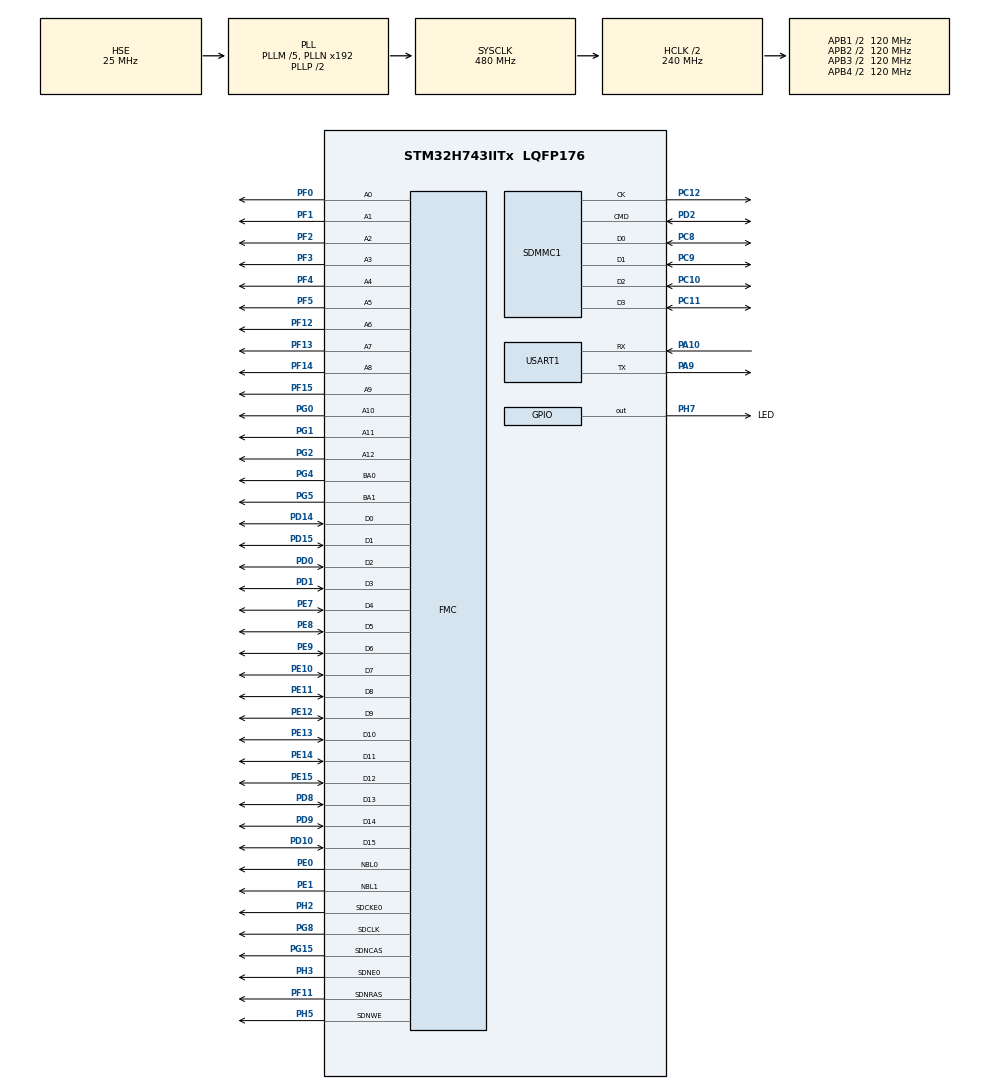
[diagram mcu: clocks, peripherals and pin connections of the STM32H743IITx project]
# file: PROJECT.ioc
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CORTEX_M7.CPU_DCache=Enabled
CORTEX_M7.CPU_ICache=Enabled
Dma.Request0=USART1_RX
Dma.Request1=USART1_TX
Dma.USART1_RX.0.Direction=DMA_PERIPH_TO_MEMORY
Dma.USART1_RX.0.EventEnable=DISABLE
Dma.USART1_RX.0.FIFOMode=DMA_FIFOMODE_DISABLE
Dma.USART1_RX.0.Instance=DMA1_Stream0
Dma.USART1_RX.0.MemDataAlignment=DMA_MDATAALIGN_BYTE
Dma.USART1_RX.0.MemInc=DMA_MINC_ENABLE
Dma.USART1_RX.0.Mode=DMA_NORMAL
Dma.USART1_RX.0.PeriphDataAlignment=DMA_PDATAALIGN_BYTE
Dma.USART1_RX.0.PeriphInc=DMA_PINC_DISABLE
Dma.USART1_RX.0.Polarity=HAL_DMAMUX_REQ_GEN_RISING
Dma.USART1_RX.0.Priority=DMA_PRIORITY_LOW
Dma.USART1_RX.0.RequestNumber=1
Dma.USART1_RX.0.SignalID=NONE
Dma.USART1_RX.0.SyncEnable=DISABLE
Dma.USART1_RX.0.SyncPolarity=HAL_DMAMUX_SYNC_NO_EVENT
Dma.USART1_RX.0.SyncRequestNumber=1
Dma.USART1_RX.0.SyncSignalID=NONE
Dma.USART1_TX.1.Direction=DMA_MEMORY_TO_PERIPH
Dma.USART1_TX.1.EventEnable=DISABLE
Dma.USART1_TX.1.FIFOMode=DMA_FIFOMODE_DISABLE
Dma.USART1_TX.1.Instance=DMA1_Stream1
Dma.USART1_TX.1.MemDataAlignment=DMA_MDATAALIGN_BYTE
Dma.USART1_TX.1.MemInc=DMA_MINC_ENABLE
Dma.USART1_TX.1.Mode=DMA_NORMAL
Dma.USART1_TX.1.PeriphDataAlignment=DMA_PDATAALIGN_BYTE
Dma.USART1_TX.1.PeriphInc=DMA_PINC_DISABLE
Dma.USART1_TX.1.Polarity=HAL_DMAMUX_REQ_GEN_RISING
Dma.USART1_TX.1.Priority=DMA_PRIORITY_LOW
Dma.USART1_TX.1.RequestNumber=1
Dma.USART1_TX.1.SignalID=NONE
Dma.USART1_TX.1.SyncEnable=DISABLE
Dma.USART1_TX.1.SyncPolarity=HAL_DMAMUX_SYNC_NO_EVENT
Dma.USART1_TX.1.SyncRequestNumber=1
Dma.USART1_TX.1.SyncSignalID=NONE
FATFS.USE_DMA_CODE_SD=1
FATFS._MAX_SS=1024
FATFS._USE_LFN=2
FMC.CASLatency1=FMC_SDRAM_CAS_LATENCY_3
FMC.ColumnBitsNumber1=FMC_SDRAM_COLUMN_BITS_NUM_9
FMC.ExitSelfRefreshDelay1=9
FMC.LoadToActiveDelay1=1
FMC.RCDDelay1=3
FMC.RPDelay1=3
FMC.RPDelay2=3
FMC.RowCycleDelay1=8
FMC.RowCycleDelay2=8
FMC.SDClockPeriod1=FMC_SDRAM_CLOCK_PERIOD_2
FMC.SDClockPeriod2=FMC_SDRAM_CLOCK_PERIOD_2
FMC.SelfRefreshTime1=6
FMC.WriteRecoveryTime1=3
Mcu.Family=STM32H7
Mcu.Name=STM32H743IITx
Mcu.Package=LQFP176
Mdma.MDMA_Channel0.Request0=SDMMC1_END_DATA
Mdma.MDMA_Channel0.RequestsNb=1
Mdma.MDMA_Channel0.SDMMC1_END_DATA.0.BlockCount=0
Mdma.MDMA_Channel0.SDMMC1_END_DATA.0.BlockDataLength=0
Mdma.MDMA_Channel0.SDMMC1_END_DATA.0.BufferTransferLength=1
Mdma.MDMA_Channel0.SDMMC1_END_DATA.0.CircularMode=MDMA_LINEAR_LIST
Mdma.MDMA_Channel0.SDMMC1_END_DATA.0.DataAlignment=MDMA_DATAALIGN_PACKENABLE
Mdma.MDMA_Channel0.SDMMC1_END_DATA.0.DestBlockAddressOffset=0
Mdma.MDMA_Channel0.SDMMC1_END_DATA.0.DestBurst=MDMA_DEST_BURST_SINGLE
Mdma.MDMA_Channel0.SDMMC1_END_DATA.0.DestDataSize=MDMA_DEST_DATASIZE_BYTE
Mdma.MDMA_Channel0.SDMMC1_END_DATA.0.DestinationInc=MDMA_DEST_INC_BYTE
Mdma.MDMA_Channel0.SDMMC1_END_DATA.0.DstAddress=0
Mdma.MDMA_Channel0.SDMMC1_END_DATA.0.Endianness=MDMA_LITTLE_ENDIANNESS_PRESERVE
Mdma.MDMA_Channel0.SDMMC1_END_DATA.0.Instance=MDMA_Channel0
Mdma.MDMA_Channel0.SDMMC1_END_DATA.0.MaskAddress=0
Mdma.MDMA_Channel0.SDMMC1_END_DATA.0.MaskData=0
Mdma.MDMA_Channel0.SDMMC1_END_DATA.0.Priority=MDMA_PRIORITY_LOW
Mdma.MDMA_Channel0.SDMMC1_END_DATA.0.Rank=First
Mdma.MDMA_Channel0.SDMMC1_END_DATA.0.SourceBlockAddressOffset=0
Mdma.MDMA_Channel0.SDMMC1_END_DATA.0.SourceBurst=MDMA_SOURCE_BURST_SINGLE
Mdma.MDMA_Channel0.SDMMC1_END_DATA.0.SourceDataSize=MDMA_SRC_DATASIZE_BYTE
Mdma.MDMA_Channel0.SDMMC1_END_DATA.0.SourceInc=MDMA_SRC_INC_BYTE
Mdma.MDMA_Channel0.SDMMC1_END_DATA.0.SrcAddress=0
Mdma.MDMA_Channel0.SDMMC1_END_DATA.0.TransferTriggerMode=MDMA_BUFFER_TRANSFER
Mdma.RequestSet0=MDMA_Channel0
Mdma.RequestSetsNb=1
NVIC.DMA1_Stream0_IRQn=true\:5\:0\:true\:false\:true\:false\:true\:true
NVIC.DMA1_Stream1_IRQn=true\:5\:0\:true\:false\:true\:false\:true\:true
NVIC.MDMA_IRQn=true\:0\:0\:false\:false\:true\:true\:true\:true
NVIC.PriorityGroup=NVIC_PRIORITYGROUP_4
NVIC.SDMMC1_IRQn=true\:0\:0\:false\:false\:true\:true\:true\:true
NVIC.USART1_IRQn=true\:5\:0\:true\:false\:true\:true\:true\:true
PA10.Mode=Asynchronous
PA10.Signal=USART1_RX
PA13\ (JTMS/SWDIO).Mode=Serial_Wire
PA13\ (JTMS/SWDIO).Signal=DEBUG_JTMS-SWDIO
PA14\ (JTCK/SWCLK).Mode=Serial_Wire
PA14\ (JTCK/SWCLK).Signal=DEBUG_JTCK-SWCLK
PA9.Mode=Asynchronous
PA9.Signal=USART1_TX
PC10.Mode=SD_4_bits_Wide_bus
PC10.Signal=SDMMC1_D2
PC11.Mode=SD_4_bits_Wide_bus
PC11.Signal=SDMMC1_D3
PC12.Mode=SD_4_bits_Wide_bus
PC12.Signal=SDMMC1_CK
PC8.Mode=SD_4_bits_Wide_bus
PC8.Signal=SDMMC1_D0
PC9.Mode=SD_4_bits_Wide_bus
PC9.Signal=SDMMC1_D1
PD0.Signal=FMC_D2_DA2
PD1.Signal=FMC_D3_DA3
PD10.Signal=FMC_D15_DA15
PD14.Signal=FMC_D0_DA0
PD15.Signal=FMC_D1_DA1
PD2.Mode=SD_4_bits_Wide_bus
PD2.Signal=SDMMC1_CMD
PD8.Signal=FMC_D13_DA13
PD9.Signal=FMC_D14_DA14
PE0.Signal=FMC_NBL0
PE1.Signal=FMC_NBL1
PE10.Signal=FMC_D7_DA7
PE11.Signal=FMC_D8_DA8
PE12.Signal=FMC_D9_DA9
PE13.Signal=FMC_D10_DA10
PE14.Signal=FMC_D11_DA11
PE15.Signal=FMC_D12_DA12
PE7.Signal=FMC_D4_DA4
PE8.Signal=FMC_D5_DA5
PE9.Signal=FMC_D6_DA6
PF0.Signal=FMC_A0
PF1.Signal=FMC_A1
PF11.Signal=FMC_SDNRAS
PF12.Signal=FMC_A6
PF13.Signal=FMC_A7
PF14.Signal=FMC_A8
PF15.Signal=FMC_A9
PF2.Signal=FMC_A2
PF3.Signal=FMC_A3
PF4.Signal=FMC_A4
PF5.Signal=FMC_A5
PG0.Signal=FMC_A10
PG1.Signal=FMC_A11
PG15.Signal=FMC_SDNCAS
PG2.Signal=FMC_A12
PG4.Signal=FMC_A14_BA0
PG5.Signal=FMC_A15_BA1
PG8.Signal=FMC_SDCLK
PH0-OSC_IN\ (PH0).Mode=HSE-External-Oscillator
PH0-OSC_IN\ (PH0).Signal=RCC_OSC_IN
PH1-OSC_OUT\ (PH1).Mode=HSE-External-Oscillator
PH1-OSC_OUT\ (PH1).Signal=RCC_OSC_OUT
PH2.Mode=SdramChipSelect1_1
PH2.Signal=FMC_SDCKE0
PH3.Mode=SdramChipSelect1_1
PH3.Signal=FMC_SDNE0
PH5.Signal=FMC_SDNWE
PH7.GPIO_Label=LED
PH7.Signal=GPIO_Output
ProjectManager.HeapSize=0x400
ProjectManager.StackSize=0x1000
ProjectManager.TargetToolchain=MDK-ARM V5.32
RCC.ADCFreq_Value=50390625
RCC.APB1Freq_Value=120000000
RCC.APB2Freq_Value=120000000
RCC.APB3Freq_Value=120000000
RCC.APB4Freq_Value=120000000
RCC.CortexFreq_Value=480000000
RCC.D1PPRE=RCC_APB3_DIV2
RCC.D2PPRE1=RCC_APB1_DIV2
RCC.D2PPRE2=RCC_APB2_DIV2
RCC.D3PPRE=RCC_APB4_DIV2
RCC.DIVM1=5
RCC.DIVN1=192
RCC.DIVQ1=4
RCC.HCLKFreq_Value=240000000
RCC.HPRE=RCC_HCLK_DIV2
RCC.LockedElements=D1CPREOutput,FMCoutput,AHBOutput
RCC.PLL2FRACN=0
RCC.PLL3FRACN=0
RCC.PLLFRACN=0
RCC.PLLSourceVirtual=RCC_PLLSOURCE_HSE
RCC.SYSCLKFreq_VALUE=480000000
RCC.SYSCLKSource=RCC_SYSCLKSOURCE_PLLCLK
RCC.USBFreq_Value=240000000
SDMMC1.ClockDiv=2
SH.FMC_A0.0=FMC_A0,13b-sda1
SH.FMC_A1.0=FMC_A1,13b-sda1
SH.FMC_A10.0=FMC_A10,13b-sda1
SH.FMC_A11.0=FMC_A11,13b-sda1
SH.FMC_A12.0=FMC_A12,13b-sda1
SH.FMC_A14_BA0.0=FMC_BA0,FourSdramBanks1
SH.FMC_A15_BA1.0=FMC_BA1,FourSdramBanks1
SH.FMC_A2.0=FMC_A2,13b-sda1
SH.FMC_A3.0=FMC_A3,13b-sda1
SH.FMC_A4.0=FMC_A4,13b-sda1
SH.FMC_A5.0=FMC_A5,13b-sda1
SH.FMC_A6.0=FMC_A6,13b-sda1
SH.FMC_A7.0=FMC_A7,13b-sda1
SH.FMC_A8.0=FMC_A8,13b-sda1
SH.FMC_A9.0=FMC_A9,13b-sda1
SH.FMC_D0_DA0.0=FMC_D0,sd-16b-d1
SH.FMC_D10_DA10.0=FMC_D10,sd-16b-d1
SH.FMC_D11_DA11.0=FMC_D11,sd-16b-d1
SH.FMC_D12_DA12.0=FMC_D12,sd-16b-d1
SH.FMC_D13_DA13.0=FMC_D13,sd-16b-d1
SH.FMC_D14_DA14.0=FMC_D14,sd-16b-d1
SH.FMC_D15_DA15.0=FMC_D15,sd-16b-d1
SH.FMC_D1_DA1.0=FMC_D1,sd-16b-d1
SH.FMC_D2_DA2.0=FMC_D2,sd-16b-d1
SH.FMC_D3_DA3.0=FMC_D3,sd-16b-d1
SH.FMC_D4_DA4.0=FMC_D4,sd-16b-d1
SH.FMC_D5_DA5.0=FMC_D5,sd-16b-d1
SH.FMC_D6_DA6.0=FMC_D6,sd-16b-d1
SH.FMC_D7_DA7.0=FMC_D7,sd-16b-d1
SH.FMC_D8_DA8.0=FMC_D8,sd-16b-d1
SH.FMC_D9_DA9.0=FMC_D9,sd-16b-d1
SH.FMC_NBL0.0=FMC_NBL0,Sd2ByteEnable1
SH.FMC_NBL1.0=FMC_NBL1,Sd2ByteEnable1
SH.FMC_SDCLK.0=FMC_SDCLK,13b-sda1
SH.FMC_SDNCAS.0=FMC_SDNCAS,13b-sda1
SH.FMC_SDNRAS.0=FMC_SDNRAS,13b-sda1
SH.FMC_SDNWE.0=FMC_SDNWE,13b-sda1
USART1.VirtualMode-Asynchronous=VM_ASYNC
VP_FATFS_VS_SDIO.Mode=SDIO
board=custom

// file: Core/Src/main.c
/* USER CODE BEGIN Header */
/**
 ******************************************************************************
 * @file           : main.c
 * @brief          : Main program body
 ******************************************************************************
 * @attention
 *
 * Copyright (c) 2024 STMicroelectronics.
 * All rights reserved.
 *
 * This software is licensed under terms that can be found in the LICENSE file
 * in the root directory of this software component.
 * If no LICENSE file comes with this software, it is provided AS-IS.
 *
 ******************************************************************************
 */
/* USER CODE END Header */
#include "main.h"
#include "dma.h"
#include "fatfs.h"
#include "mdma.h"
#include "sdmmc.h"
#include "usart.h"
#include "gpio.h"
#include "fmc.h"

/* USER CODE BEGIN Includes */
#include <stdio.h>
#include "iled.h"
#include "iusart.h"
#include "isdram.h"
#include "imemory.h"
#include "idisk.h"
#include "arm_math.h"
/* USER CODE END Includes */

/* USER CODE BEGIN PM */
// SDMMC/SD Card
#define NumOf_Blocks 64
#define Test_BlockSize ((BLOCKSIZE * NumOf_Blocks) >> 2) // Define the data size, the SD block size is 512 bytes, because it is a 32-bit array, so divide by 4
#define Test_Addr 0x00

// DSP
#define FFT_LENGTH 1024 // FFT Length, by default 1024 points
/* USER CODE END PM */

/* USER CODE BEGIN PV */

// DSP
float fft_inputbuf[FFT_LENGTH * 2]; // FFT Input array
float fft_outputbuf[FFT_LENGTH];    // FFT Output array
/* USER CODE END PV */

void SystemClock_Config(void);

/* USER CODE BEGIN 0 */
int i;
arm_cfft_radix4_instance_f32 scfft;
/* USER CODE END 0 */

int main(void)
{
  /* USER CODE BEGIN 1 */
  void *p = NULL;

  /* USER CODE END 1 */
/* Enable the CPU Cache */

  /* Enable I-Cache---------------------------------------------------------*/
  SCB_EnableICache();

  /* Enable D-Cache---------------------------------------------------------*/
  SCB_EnableDCache();

  /* MCU Configuration--------------------------------------------------------*/

  /* Reset of all peripherals, Initializes the Flash interface and the Systick. */
  HAL_Init();

  /* Configure the system clock */
  SystemClock_Config();

  /* Initialize all configured peripherals */
  MX_GPIO_Init();
  MX_DMA_Init();
  MX_MDMA_Init();
  MX_USART1_UART_Init();
  MX_SDMMC1_SD_Init();
  MX_FMC_Init();
  MX_FATFS_Init();
  /* USER CODE BEGIN 2 */
  SDRAM_InitSequence();
  MCU_serial_init();
  SDRAM_Test();
  // <SDRAM TEST>
  printf("\r\n[PART I: SDRAM AND MEMORY MANAGEMENT TEST]\r\n");
  memory_init();

  void *ptr1 = memory_alloc(1 * 1024 * 1024); // allocate 10 MB
  if (ptr1)
  {
    printf("Allocated 1 MB at %p\r\n", ptr1);
  }
  else
  {
    printf("Failed to allocate 1 MB\r\n");
  }

  // modify the values in the allocated memory
  for (int i = 0; i < 1 * 1024 * 1024 / 4; i++)
  {
    ((uint32_t *)ptr1)[i] = i;
    // print
    if (i % 4096 == 0)
    {
      printf("Value at %p: %d\r\n", &((uint32_t *)ptr1)[i], ((uint32_t *)ptr1)[i]);
    }
  }

  memory_free(ptr1);
  printf("Freed memory at %p\r\n", ptr1);

  // <SD CARD TEST>
  printf("\r\n[PART II: SD CARD TEST]\r\n");

  if (Disk_Mount() < 0)
  {
    Error_Handler();
    printf("SD CARD TEST failed!\r\n");
  }
  else
  {
    printf("SD CARD TEST succeeded!\r\n");
  }

  HAL_SD_CardInfoTypeDef SDCardInfo;
  HAL_SD_GetCardInfo(&hsd1, &SDCardInfo); // HAL_SD_CardInfoTypeDef *pCardInfo);
  printf("Card Type:%d\r\n", SDCardInfo.CardType);
  printf("Card CardVersion:%d\r\n", SDCardInfo.CardVersion);
  printf("Card RCA:%d\r\n", SDCardInfo.RelCardAdd);
  printf("Card Capacity:%d MB\r\n", (uint32_t)(SDCardInfo.LogBlockNbr) >> 11);
  printf("Card BlockSize:%d\r\n\r\n", SDCardInfo.LogBlockSize);

  // <CMSIS DSP TEST>
  printf("\r\n[PART III: CMSIS DSP TEST - FFT]\r\n");
  arm_cfft_radix4_init_f32(&scfft, FFT_LENGTH, 0, 1); // init the scfft structure, set FFT related parameters

  for (i = 0; i < FFT_LENGTH; i++) // generate signal sequence
  {
    fft_inputbuf[2 * i] = 100 +
                          10 * arm_sin_f32(2 * PI * i / FFT_LENGTH) +
                          30 * arm_sin_f32(2 * PI * i * 4 / FFT_LENGTH) +
                          50 * arm_cos_f32(2 * PI * i * 8 / FFT_LENGTH); // generate input signal real part
    fft_inputbuf[2 * i + 1] = 0;                                         // imaginary part is all 0
  }

  arm_cfft_radix4_f32(&scfft, fft_inputbuf); // FFT calculation (base 4)

  arm_cmplx_mag_f32(fft_inputbuf, fft_outputbuf, FFT_LENGTH); // get the amplitude value of the complex modulus of the operation result

  printf("FFT Result:\r\n");
  for (i = 0; i < FFT_LENGTH; i++)
  {
    printf("fft_outputbuf[%d]:%f\r\n", i, fft_outputbuf[i]);
  }
  /* USER CODE END 2 */

  /* Infinite loop */
  while (1)
  {

    /* USER CODE BEGIN 3 */
    LED(1);
    HAL_Delay(500);
    LED(0);
    HAL_Delay(500);

    MCU_printf("There are %d days in a week.\n\r", 7);
  }
  /* USER CODE END 3 */
}

void SystemClock_Config(void)
{
  RCC_OscInitTypeDef RCC_OscInitStruct = {0};
  RCC_ClkInitTypeDef RCC_ClkInitStruct = {0};

  /** Supply configuration update enable
  */
  HAL_PWREx_ConfigSupply(PWR_LDO_SUPPLY);

  /** Configure the main internal regulator output voltage
  */
  __HAL_PWR_VOLTAGESCALING_CONFIG(PWR_REGULATOR_VOLTAGE_SCALE1);

  while(!__HAL_PWR_GET_FLAG(PWR_FLAG_VOSRDY)) {}

  __HAL_RCC_SYSCFG_CLK_ENABLE();
  __HAL_PWR_VOLTAGESCALING_CONFIG(PWR_REGULATOR_VOLTAGE_SCALE0);

  while(!__HAL_PWR_GET_FLAG(PWR_FLAG_VOSRDY)) {}

  /** Initializes the RCC Oscillators according to the specified parameters
  * in the RCC_OscInitTypeDef structure.
  */
  RCC_OscInitStruct.OscillatorType = RCC_OSCILLATORTYPE_HSE;
  RCC_OscInitStruct.HSEState = RCC_HSE_ON;
  RCC_OscInitStruct.PLL.PLLState = RCC_PLL_ON;
  RCC_OscInitStruct.PLL.PLLSource = RCC_PLLSOURCE_HSE;
  RCC_OscInitStruct.PLL.PLLM = 5;
  RCC_OscInitStruct.PLL.PLLN = 192;
  RCC_OscInitStruct.PLL.PLLP = 2;
  RCC_OscInitStruct.PLL.PLLQ = 4;
  RCC_OscInitStruct.PLL.PLLR = 2;
  RCC_OscInitStruct.PLL.PLLRGE = RCC_PLL1VCIRANGE_2;
  RCC_OscInitStruct.PLL.PLLVCOSEL = RCC_PLL1VCOWIDE;
  RCC_OscInitStruct.PLL.PLLFRACN = 0;
  if (HAL_RCC_OscConfig(&RCC_OscInitStruct) != HAL_OK)
  {
    Error_Handler();
  }

  /** Initializes the CPU, AHB and APB buses clocks
  */
  RCC_ClkInitStruct.ClockType = RCC_CLOCKTYPE_HCLK|RCC_CLOCKTYPE_SYSCLK
                              |RCC_CLOCKTYPE_PCLK1|RCC_CLOCKTYPE_PCLK2
                              |RCC_CLOCKTYPE_D3PCLK1|RCC_CLOCKTYPE_D1PCLK1;
  RCC_ClkInitStruct.SYSCLKSource = RCC_SYSCLKSOURCE_PLLCLK;
  RCC_ClkInitStruct.SYSCLKDivider = RCC_SYSCLK_DIV1;
  RCC_ClkInitStruct.AHBCLKDivider = RCC_HCLK_DIV2;
  RCC_ClkInitStruct.APB3CLKDivider = RCC_APB3_DIV2;
  RCC_ClkInitStruct.APB1CLKDivider = RCC_APB1_DIV2;
  RCC_ClkInitStruct.APB2CLKDivider = RCC_APB2_DIV2;
  RCC_ClkInitStruct.APB4CLKDivider = RCC_APB4_DIV2;

  if (HAL_RCC_ClockConfig(&RCC_ClkInitStruct, FLASH_LATENCY_4) != HAL_OK)
  {
    Error_Handler();
  }
}

/* USER CODE BEGIN 4 */

// MicroLib needed for retargetting
// retarget fputc for printf
int fputc(int ch, FILE *f)
{
  uint8_t temp = (uint8_t)ch;
  HAL_UART_Transmit(&huart1, &temp, 1, HAL_MAX_DELAY);
  return ch;
}

// retarget fgetc for scanf
int fgetc(FILE *f)
{
  while (__HAL_UART_GET_FLAG(&huart1, UART_FLAG_RXNE) == RESET)
    ;                                        // Wait until the data is received
  return (int)(huart1.Instance->RDR & 0xFF); // Read the received data
}
/* USER CODE END 4 */

void Error_Handler(void)
{
  __disable_irq();
  while (1)
  {
  }
}
